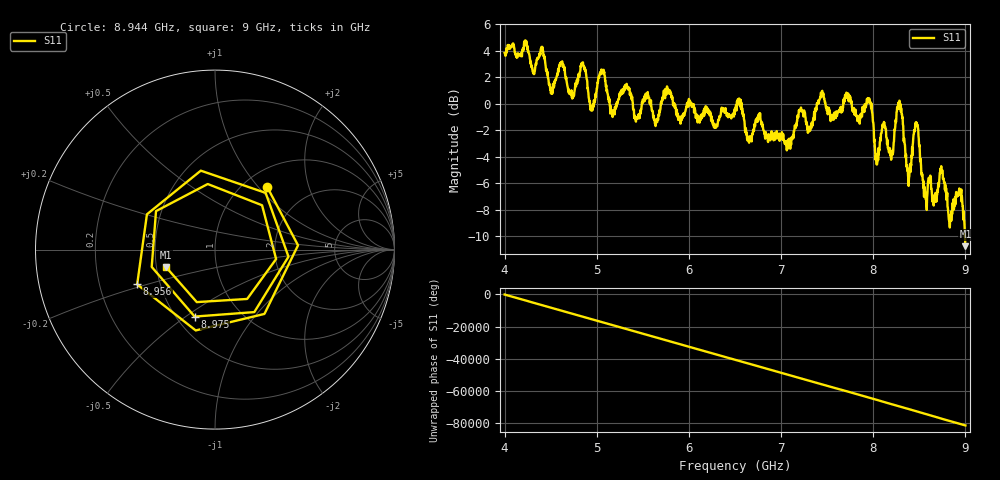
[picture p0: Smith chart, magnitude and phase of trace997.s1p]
! Created with skrf 1.8.0 (http://scikit-rf.org).
# Hz S RI R 50.0
!freq ReS11 ImS11
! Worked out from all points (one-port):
!   1601 points, 4 GHz to 9 GHz, reference 50 ohm
!   lowest |S11| = -10.7 dB at 9 GHz (marker M1), VSWR 1.82, Z = 28.1 - j5.91 ohm
!   |S11| at or under -10 dB: 8.995911 GHz to end of sweep
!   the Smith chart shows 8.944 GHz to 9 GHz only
!   S11 on the Smith chart (normalised r, x): 8.944 GHz: 1.26, +1.12; 8.956 GHz: 0.37, -0.19; 8.975 GHz: 0.62, -0.54; 9 GHz: 0.56, -0.12
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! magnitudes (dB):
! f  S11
! 4 GHz  3.8
! 4.409 GHz  4.3
! 4.512 GHz  1.1
! 4.625 GHz  3.2
! 4.731 GHz  0.5
! 4.856 GHz  2.9
! 4.941 GHz  -0.4
! 5.056 GHz  2.4
! 5.169 GHz  -0.8
! 5.25 GHz  0.6
! 5.875 GHz  -0.8
! 6.5 GHz  -0.5
! 6.656 GHz  -2.7
! 7.125 GHz  -2.5
! 7.438 GHz  0.8
! 7.75 GHz  0.5
! 7.956 GHz  0.4
! 8.044 GHz  -4.5
! 8.112 GHz  -1.7
! 8.197 GHz  -4.1
! 8.288 GHz  0.2
! 8.375 GHz  -4.9
! 8.466 GHz  -1.6
! 8.562 GHz  -6.8
! 8.944 GHz  -6.8
! 8.956 GHz  -6.5
! 8.975 GHz  -8.2
! 9 GHz  -10.7
